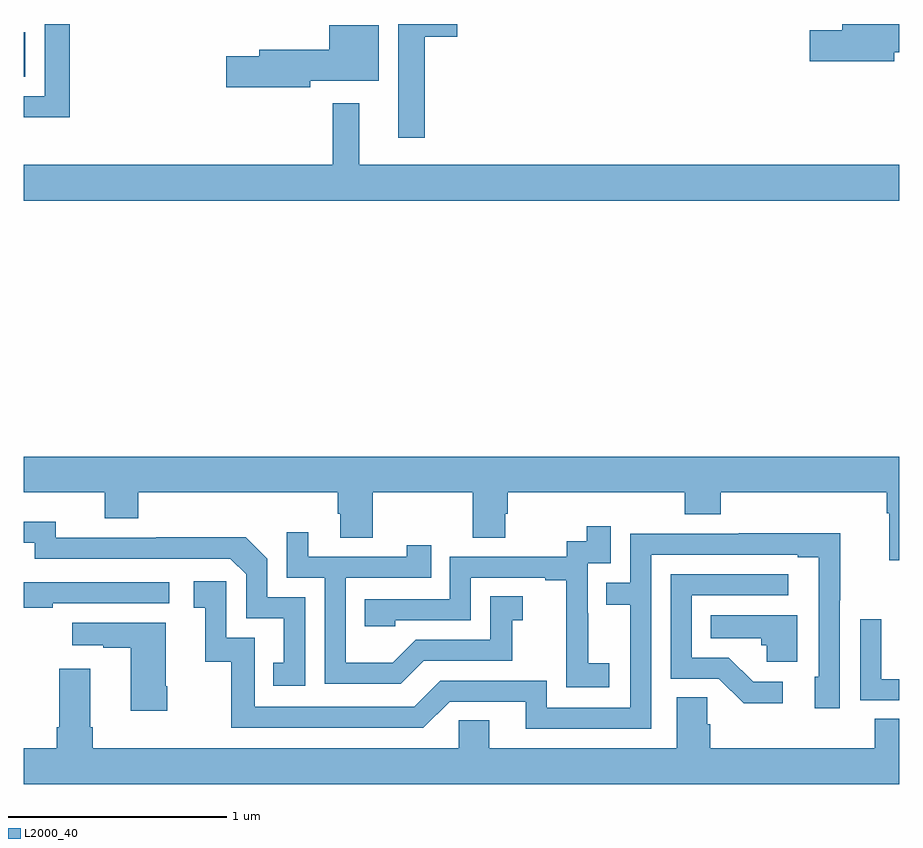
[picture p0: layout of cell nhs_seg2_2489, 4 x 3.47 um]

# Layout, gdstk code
import gdstk
lib = gdstk.Library(unit=1e-6, precision=1e-09)
def R(c, l, rs):  # rectangles x0, y0, x1, y1
    for r in rs: c.add(gdstk.rectangle(r[:2], r[2:], *l))
def P(c, l, *ps):  # polygons
    for p in ps: c.add(gdstk.Polygon(p, *l))
L2000_40 = (2000, 40)

nhs_seg2_2489 = lib.new_cell('nhs_seg2_2489')
R(nhs_seg2_2489, L2000_40, [(241,625.559,241.006,625.762)])
P(nhs_seg2_2489, L2000_40, [(241.211,625.8),(241.095,625.8),(241.095,625.47),(241,625.47),(241,625.373),(241.211,625.373)],
  [(242.833,625.742),(242.98,625.742),(242.98,625.8),(242.711,625.8),(242.711,625.281),(242.833,625.281)],
  [(244.978,625.672),(245,625.672),(245,625.8),(244.739,625.8),(244.739,625.772),(244.59,625.772),(244.59,625.63),(244.978,625.63)],
  [(242.31,625.541),(242.623,625.541),(242.623,625.795),(242.396,625.795),(242.396,625.682),(242.075,625.682),(242.075,625.652),(241.926,625.652),(241.926,625.51),(242.31,625.51)],
  [(245,625.156),(242.533,625.156),(242.533,625.438),(242.412,625.438),(242.412,625.156),(241,625.156),(241,624.992),(245,624.992)],
  [(245,623.824),(241,623.824),(241,623.66),(241.37,623.66),(241.37,623.543),(241.523,623.543),(241.523,623.66),(242.435,623.66),(242.435,623.562),(242.447,623.562),(242.447,623.452),(242.595,623.452),(242.595,623.66),(243.052,623.66),(243.052,623.452),(243.199,623.452),(243.199,623.562),(243.212,623.562),(243.212,623.66),(244.019,623.66),(244.019,623.561),(244.184,623.561),(244.184,623.66),(244.943,623.66),(244.943,623.564),(244.955,623.564),(244.955,623.351),(245,623.351)],
  [(242.286,623.181),(242.112,623.181),(242.112,623.358),(242.014,623.456),(241.606,623.456),(241.606,623.454),(241.146,623.454),(241.146,623.527),(241,623.527),(241,623.43),(241.05,623.43),(241.05,623.358),(241.944,623.358),(242.016,623.286),(242.016,623.085),(242.189,623.085),(242.189,622.881),(242.14,622.881),(242.14,622.776),(242.286,622.776)],
  [(243.676,622.879),(243.578,622.879),(243.578,623.108),(243.576,623.108),(243.576,623.337),(243.681,623.337),(243.681,623.506),(243.573,623.506),(243.573,623.436),(243.48,623.436),(243.48,623.367),(242.946,623.367),(242.946,623.172),(242.557,623.172),(242.557,623.049),(242.697,623.049),(242.697,623.076),(243.042,623.076),(243.042,623.271),(243.383,623.271),(243.383,623.259),(243.479,623.259),(243.479,622.975),(243.478,622.975),(243.478,622.769),(243.676,622.769)],
  [(242.827,622.89),(243.231,622.89),(243.231,623.075),(243.28,623.075),(243.28,623.185),(243.132,623.185),(243.132,622.986),(242.79,622.986),(242.686,622.882),(242.472,622.882),(242.472,623.271),(242.861,623.271),(242.861,623.419),(242.75,623.419),(242.75,623.367),(242.299,623.367),(242.299,623.479),(242.202,623.479),(242.202,623.271),(242.376,623.271),(242.376,622.785),(242.722,622.785)],
  [(243.867,623.376),(244.535,623.376),(244.535,623.364),(244.632,623.364),(244.632,622.818),(244.613,622.818),(244.613,622.674),(244.728,622.674),(244.728,623.167),(244.731,623.167),(244.731,623.474),(244.267,623.474),(244.267,623.472),(243.771,623.472),(243.771,623.247),(243.661,623.247),(243.661,623.146),(243.771,623.146),(243.771,622.677),(243.39,622.677),(243.39,622.8),(242.904,622.8),(242.784,622.68),(242.055,622.68),(242.055,622.995),(241.926,622.995),(241.926,623.254),(241.776,623.254),(241.776,623.133),(241.829,623.133),(241.829,622.887),(241.947,622.887),(241.947,622.584),(242.826,622.584),(242.946,622.704),(243.293,622.704),(243.293,622.581),(243.867,622.581)],
  [(244.468,622.794),(244.333,622.794),(244.222,622.905),(244.053,622.905),(244.053,623.19),(244.492,623.19),(244.492,623.286),(243.957,623.286),(243.957,622.809),(244.176,622.809),(244.289,622.697),(244.468,622.697)],
  [(241.133,623.154),(241.666,623.154),(241.666,623.25),(241,623.25),(241,623.134),(241.133,623.134)],
  [(244.534,623.098),(244.138,623.098),(244.138,622.994),(244.369,622.994),(244.369,622.962),(244.395,622.962),(244.395,622.886),(244.534,622.886)],
  [(245,622.806),(244.917,622.806),(244.917,623.08),(244.821,623.08),(244.821,622.71),(245,622.71)],
  [(241.656,622.774),(241.648,622.774),(241.648,623.065),(241.221,623.065),(241.221,622.961),(241.364,622.961),(241.364,622.951),(241.49,622.951),(241.49,622.662),(241.656,622.662)],
  [(245,622.625),(244.889,622.625),(244.889,622.492),(244.136,622.492),(244.136,622.601),(244.122,622.601),(244.122,622.724),(243.983,622.724),(243.983,622.492),(243.127,622.492),(243.127,622.619),(242.988,622.619),(242.988,622.492),(241.316,622.492),(241.316,622.588),(241.303,622.588),(241.303,622.855),(241.163,622.855),(241.163,622.588),(241.151,622.588),(241.151,622.492),(241,622.492),(241,622.328),(245,622.328)])

lib.write_gds('nhs_seg2_2489.gds')
